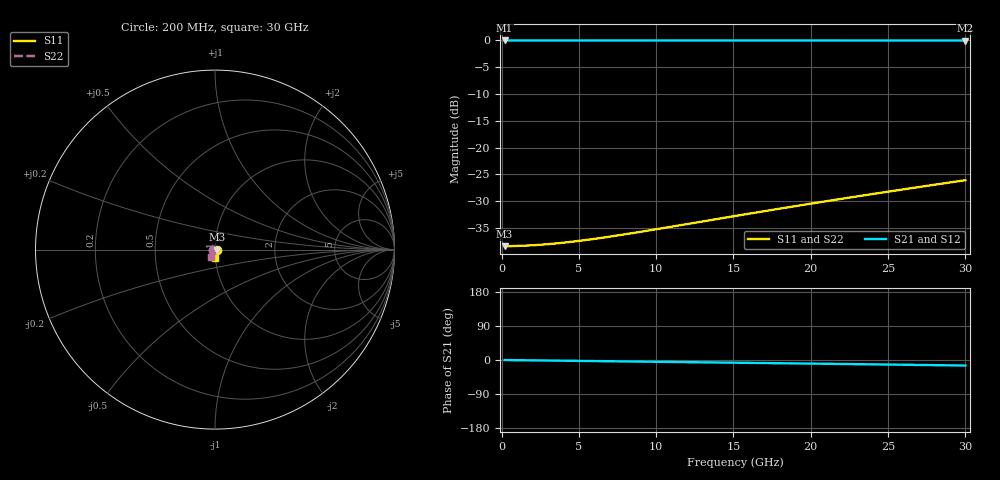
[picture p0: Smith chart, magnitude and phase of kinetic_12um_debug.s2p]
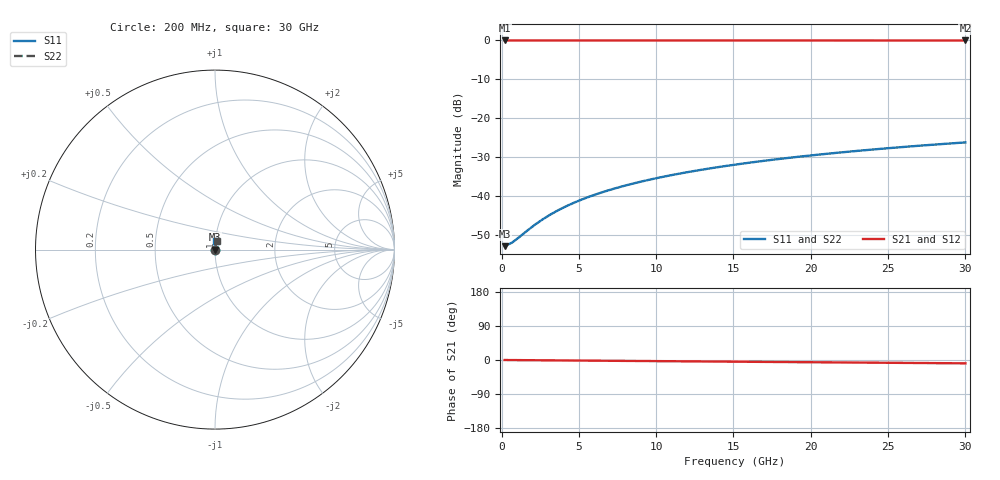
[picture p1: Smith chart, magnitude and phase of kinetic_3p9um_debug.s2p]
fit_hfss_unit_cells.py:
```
#!/usr/bin/env python3
"""L/C/Lf extraction from two-port HFSS cell sweeps.

The 12.0 µm unloaded and 3.9 µm loaded fits define the baseline structural model.
Output: hfss_inputs/hfss_cell_parameters.csv and its fit-quality report."""

from __future__ import annotations

import argparse
import csv
import json
from pathlib import Path
from typing import Any

from _bootstrap import ROOT
import numpy as np

CELL_DEFINITIONS: dict[str, dict[str, float | str]] = {
    "unloaded": {
        "stub_length_um": 12.0,
        "broadband_file": "kinetic_12um_debug.s2p",
        "lowfreq_file": "kinetic_12um_lowfreq.s2p",
    },
    "loaded": {
        "stub_length_um": 3.9,
        "broadband_file": "kinetic_3p9um_debug.s2p",
        "lowfreq_file": "kinetic_3p9um_lowfreq.s2p",
    },
}
FIT_BAND_GHZ = (4.0, 14.0)
OUTPUT_COLUMNS = (
    "cell_type",
    "stub_length_um",
    "L_pH",
    "C_fF",
    "Lf_pH",
    "loss_tangent",
    "Z0_ohm",
    "fit_s21_rmse_db",
    "fit_phase_rmse_deg",
    "source",
)

# Acceptance gates: Z0 of the previously selected HFSS baseline fit.
_SELECTED_UNLOADED_Z0_OHM = 43.08925347829123
_SELECTED_LOADED_Z0_OHM = 70.20100727735449


def read_touchstone_ma(path: Path) -> tuple[np.ndarray, np.ndarray]:
    """GHz Touchstone data as frequencies in Hz and S matrices of shape (n, 2, 2)."""
    frequencies_hz: list[float] = []
    s_matrices: list[np.ndarray] = []
    option_line: str | None = None
    for raw_line in path.read_text(encoding="utf-8").splitlines():
        line = raw_line.strip()
        if not line or line.startswith("!"):
            continue
        if line.startswith("#"):
            option_line = line.upper()
            continue
        values = [float(item) for item in line.split()[:9]]
        if len(values) != 9:
            continue
        pairs = [
            values[index] * np.exp(1j * np.deg2rad(values[index + 1])) for index in (1, 3, 5, 7)
        ]
        # Touchstone two-port ordering is S11, S21, S12, S22.
        s_matrices.append(np.array([[pairs[0], pairs[2]], [pairs[1], pairs[3]]]))
        frequencies_hz.append(values[0] * 1e9)
    if (
        option_line is None
        or "GHZ" not in option_line
        or " S " not in option_line
        or " MA " not in option_line
    ):
        raise ValueError(f"{path} must use '# GHz S MA R 50'")
    if "R 50" not in option_line:
        raise ValueError(f"{path} must be normalized to 50 ohms")
    return np.asarray(frequencies_hz), np.asarray(s_matrices)


def s_to_abcd(s_matrices: np.ndarray, z0_ohm: float = 50.0) -> np.ndarray:
    """ABCD matrices for two-port S parameters at reference impedance z0_ohm."""
    s11, s12 = s_matrices[:, 0, 0], s_matrices[:, 0, 1]
    s21, s22 = s_matrices[:, 1, 0], s_matrices[:, 1, 1]
    abcd = np.empty_like(s_matrices)
    abcd[:, 0, 0] = ((1 + s11) * (1 - s22) + s12 * s21) / (2 * s21)
    abcd[:, 0, 1] = z0_ohm * ((1 + s11) * (1 + s22) - s12 * s21) / (2 * s21)
    abcd[:, 1, 0] = ((1 - s11) * (1 - s22) - s12 * s21) / (2 * s21 * z0_ohm)
    abcd[:, 1, 1] = ((1 - s11) * (1 + s22) + s12 * s21) / (2 * s21)
    return abcd


def lclf_cell_s_parameters(
    frequencies_hz: np.ndarray,
    inductance_h: float,
    capacitance_f: float,
    finger_inductance_h: float,
    z0_ohm: float = 50.0,
) -> np.ndarray:
    """Uncentered LCLfBaseCell S parameters with shape (n_frequencies, 2, 2).

    Frequency, inductance, capacitance, and reference impedance use SI units."""
    angular_freq = 2 * np.pi * frequencies_hz
    denominator = 2 - finger_inductance_h * capacitance_f * angular_freq**2
    a = np.ones_like(angular_freq, dtype=complex)
    b = 1j * inductance_h * angular_freq
    c = 1j * 2 * capacitance_f * angular_freq / denominator
    d = 1 - 2 * inductance_h * capacitance_f * angular_freq**2 / denominator
    normalization = a + b / z0_ohm + c * z0_ohm + d
    s_matrices = np.empty((len(frequencies_hz), 2, 2), dtype=complex)
    s_matrices[:, 0, 0] = (a + b / z0_ohm - c * z0_ohm - d) / normalization
    s_matrices[:, 0, 1] = 2 * (a * d - b * c) / normalization
    s_matrices[:, 1, 0] = 2 / normalization
    s_matrices[:, 1, 1] = (-a + b / z0_ohm - c * z0_ohm + d) / normalization
    return s_matrices


def fit_cell(input_dir: Path, definition: dict[str, float | str]) -> dict[str, float]:
    """L/C/Lf estimates and residuals from low-frequency and broadband HFSS sweeps."""
    lowfreq_hz, lowfreq_s = read_touchstone_ma(input_dir / str(definition["lowfreq_file"]))
    broadband_hz, broadband_s = read_touchstone_ma(input_dir / str(definition["broadband_file"]))

    lowfreq_abcd = s_to_abcd(lowfreq_s)
    lowfreq_angular = 2 * np.pi * lowfreq_hz
    inductance_h = float(np.mean(np.imag(lowfreq_abcd[:, 0, 1]) / lowfreq_angular))

    fit_mask = (broadband_hz >= FIT_BAND_GHZ[0] * 1e9) & (broadband_hz <= FIT_BAND_GHZ[1] * 1e9)
    fit_hz = broadband_hz[fit_mask]
    fit_s = broadband_s[fit_mask]
    fit_abcd = s_to_abcd(fit_s)
    fit_angular = 2 * np.pi * fit_hz
    effective_capacitance = np.imag(fit_abcd[:, 1, 0]) / fit_angular

    # For LCLfBaseCell: 1/C_eff = 1/C - (Lf/2) * omega^2.
    slope, intercept = np.polyfit(fit_angular**2, 1 / effective_capacitance, 1)
    capacitance_f = float(1 / intercept)
    finger_inductance_h = float(-2 * slope)
    if min(inductance_h, capacitance_f, finger_inductance_h) <= 0:
        raise ValueError("Fitted L, C, and Lf must all be positive")

    model_s = lclf_cell_s_parameters(fit_hz, inductance_h, capacitance_f, finger_inductance_h)
    hfss_s21, model_s21 = fit_s[:, 1, 0], model_s[:, 1, 0]
    magnitude_error_db = 20 * np.log10(np.abs(model_s21)) - 20 * np.log10(np.abs(hfss_s21))
    phase_error_rad = np.unwrap(np.angle(model_s21)) - np.unwrap(np.angle(hfss_s21))

    return {
        "stub_length_um": float(definition["stub_length_um"]),
        "L_pH": inductance_h * 1e12,
        "C_fF": capacitance_f * 1e15,
        "Lf_pH": finger_inductance_h * 1e12,
        "loss_tangent": 0.0,
        "Z0_ohm": float(np.sqrt(inductance_h / capacitance_f)),
        "fit_s21_rmse_db": float(np.sqrt(np.mean(magnitude_error_db**2))),
        "fit_phase_rmse_deg": float(np.rad2deg(np.sqrt(np.mean(phase_error_rad**2)))),
    }


def acceptance_gates(fitted_cells: dict[str, dict[str, float]]) -> dict[str, bool]:
    """Impedance and residual acceptance flags for the baseline cell pair."""
    selected_ratio = _SELECTED_LOADED_Z0_OHM / _SELECTED_UNLOADED_Z0_OHM
    unloaded, loaded = fitted_cells["unloaded"], fitted_cells["loaded"]
    return {
        "unloaded_Z0_selected_43p09ohm_pm5pct": (
            abs(unloaded["Z0_ohm"] - _SELECTED_UNLOADED_Z0_OHM) <= 0.05 * _SELECTED_UNLOADED_Z0_OHM
        ),
        "loaded_Z0_selected_70p20ohm_pm5pct": (
            abs(loaded["Z0_ohm"] - _SELECTED_LOADED_Z0_OHM) <= 0.05 * _SELECTED_LOADED_Z0_OHM
        ),
        "impedance_ratio_selected_1p629_pm5pct": (
            abs(loaded["Z0_ohm"] / unloaded["Z0_ohm"] - selected_ratio) <= 0.05 * selected_ratio
        ),
        "S21_fit_rmse_below_0p5db": max(row["fit_s21_rmse_db"] for row in fitted_cells.values())
        < 0.5,
        "phase_fit_rmse_below_5deg": max(row["fit_phase_rmse_deg"] for row in fitted_cells.values())
        < 5.0,
    }


def main() -> None:
    parser = argparse.ArgumentParser(description=__doc__)
    parser.add_argument("--input-dir", type=Path, default=ROOT / "hfss_inputs")
    parser.add_argument(
        "--output", type=Path, default=ROOT / "hfss_inputs/hfss_cell_parameters.csv"
    )
    args = parser.parse_args()

    fitted_cells = {
        name: fit_cell(args.input_dir, definition) for name, definition in CELL_DEFINITIONS.items()
    }

    args.output.parent.mkdir(parents=True, exist_ok=True)
    with args.output.open("w", newline="", encoding="utf-8") as handle:
        writer = csv.DictWriter(handle, fieldnames=list(OUTPUT_COLUMNS))
        writer.writeheader()
        for name in ("unloaded", "loaded"):
            writer.writerow({"cell_type": name, **fitted_cells[name], "source": "HFSS"})

    report: dict[str, Any] = {
        "fit_band_GHz": list(FIT_BAND_GHZ),
        "cells": fitted_cells,
        "acceptance_gates": acceptance_gates(fitted_cells),
    }
    report_path = args.output.with_suffix(".fit.json")
    report_path.write_text(json.dumps(report, indent=2) + "\n", encoding="utf-8", newline="\n")
    print(json.dumps(report, indent=2))
    print(f"Wrote {args.output} and {report_path}")


if __name__ == "__main__":
    main()
```
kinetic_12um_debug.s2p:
! Touchstone file exported from HFSS 2026.1.0
!  Generated:  12:51:24 PM Aug 10, 2026
!  Design:  HFSSDesign_Kinetic_debug
!  Project:  Project1
!  Setup:  Setup1
!  Solution:  Sweep_discrete_debug
! Variables:
!  port_below = 1um
!  port_width = 30um
!  stub_length = 12um
# GHz S MA R 50.000000
! Terminal data exported
! Port[1] = Port1
! Port[2] = Port2
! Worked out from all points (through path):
!   61 points, 200 MHz to 30 GHz, reference 50 ohm
!   highest |S21| = 0.00 dB at 200 MHz (marker M1); lowest = 0.0 dB at 30 GHz (marker M2)
!   group delay of S21, straight-line fit = 1.35 ps
!   lowest |S11| = -38.4 dB at 200 MHz (marker M3), VSWR 1.02, Z = 51.2 - j0.0267 ohm
!   |S11| at or under -10 dB: start of sweep to end of sweep
!   |S22| runs from -38.4 to -26.1 dB; largest |S21 - S12| = 1.6e-12
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0.2  0.01198 -1.2  0.9999 -0.1  0.9999 -0.1  0.01198 -178.9
! Gamma 0 173.290563416906 0 171.113978763738
! Port Impedance 50 0 50 0
1.193333  0.01206 -7.4  0.9999 -0.6  0.9999 -0.6  0.01206 -173.7
2.683333  0.01241 -16.4  0.9999 -1.3  0.9999 -1.3  0.01241 -166.1
4.173333  0.01299 -24.8  0.9999 -2.0  0.9999 -2.0  0.01299 -159.1
5.663333  0.01381 -32.6  0.9999 -2.6  0.9999 -2.6  0.01381 -152.7
7.153333  0.01482 -39.6  0.9999 -3.3  0.9999 -3.3  0.01482 -147.1
8.643333  0.01601 -45.8  0.9999 -4.0  0.9999 -4.0  0.01601 -142.3
15.1  0.02291 -66.1  0.9997 -7.1  0.9997 -7.1  0.02291 -128.2
18.57667  0.0277 -73.7  0.9996 -8.8  0.9996 -8.8  0.0277 -123.9
22.55  0.03415 -80.9  0.9994 -10.8  0.9994 -10.8  0.03415 -120.7
30  0.04951 -91.3  0.9988 -14.6  0.9988 -14.6  0.04951 -117.9
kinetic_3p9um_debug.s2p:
! Touchstone file exported from HFSS 2026.1.0
!  Generated:  01:16:41 PM Aug 10, 2026
!  Design:  HFSSDesign_Kinetic_debug
!  Project:  Project1
!  Setup:  Setup1
!  Solution:  Sweep_discrete_debug
! Variables:
!  port_below = 1um
!  port_width = 30um
!  stub_length = 3.9um
# GHz S MA R 50.000000
! Terminal data exported
! Port[1] = Port1
! Port[2] = Port2
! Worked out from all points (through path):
!   61 points, 200 MHz to 30 GHz, reference 50 ohm
!   highest |S21| = 0.00 dB at 200 MHz (marker M1); lowest = 0.0 dB at 30 GHz (marker M2)
!   group delay of S21, straight-line fit = 815 fs
!   lowest |S11| = -53.0 dB at 200 MHz (marker M3), VSWR 1.00, Z = 49.8 + j0.0336 ohm
!   |S11| at or under -10 dB: start of sweep to end of sweep
!   |S22| runs from -53.0 to -26.2 dB; largest |S21 - S12| = 1.3e-12
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0.2  0.002249 171.4  1 -0.1  1 -0.1  0.002249 8.5
! Gamma 5.16256102321087E-37 168.823540232393 0 169.005313720601
! Port Impedance 50 0 50 0
0.6966667  0.002511 152.1  1 -0.2  1 -0.2  0.002511 27.5
2.186667  0.004284 120.6  1 -0.6  1 -0.6  0.004284 58.1
3.18  0.00577 111.7  1 -0.9  1 -0.9  0.00577 66.4
4.173333  0.007331 106.4  1 -1.2  1 -1.2  0.007331 71.1
5.663333  0.009733 101.5  1 -1.7  1 -1.7  0.009733 75.1
7.65  0.01298 97.6  0.9999 -2.2  0.9999 -2.2  0.01298 77.9
9.636667  0.01624 95.0  0.9999 -2.8  0.9999 -2.8  0.01624 79.3
15.1  0.02519 90.6  0.9997 -4.4  0.9997 -4.4  0.02519 80.5
21.55667  0.03558 87.3  0.9994 -6.3  0.9994 -6.3  0.03558 80.0
30  0.04871 83.9  0.9988 -8.8  0.9988 -8.8  0.04871 78.5
